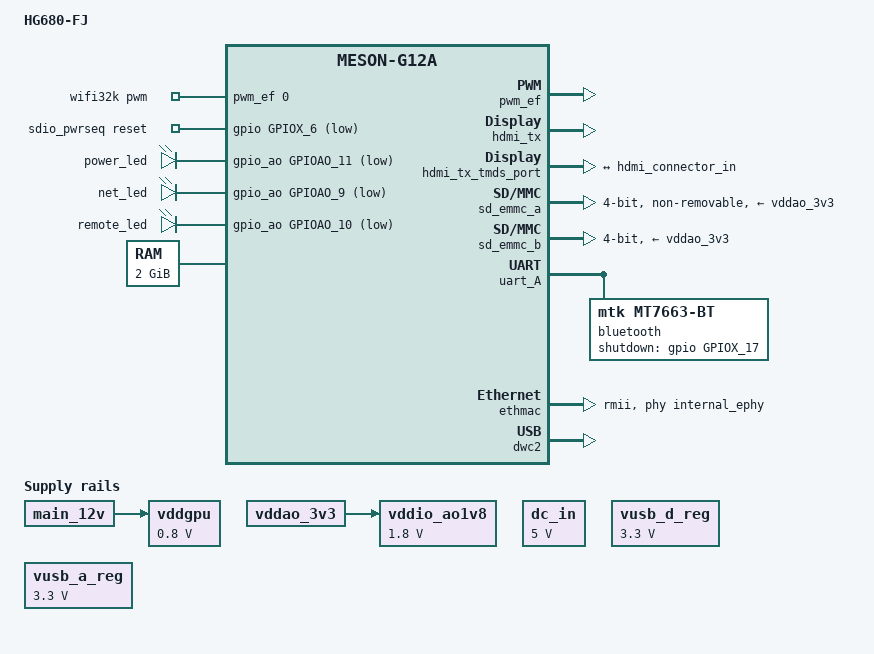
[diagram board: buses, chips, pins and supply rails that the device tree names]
// SPDX-License-Identifier: (GPL-2.0+ OR MIT)
/*
 * Copyright (c) sib0ndt, bluemeda
 */

/dts-v1/;

#include "meson-g12a-u200.dts"

/ {
	compatible = "hg680,fj", "amlogic,g12a";
	model = "HG680-FJ";

	vddgpu: regulator-vddgpu {
		compatible = "regulator-fixed";
		regulator-name = "mali";
		regulator-min-microvolt = <800000>;
		regulator-max-microvolt = <800000>;
		vin-supply = <&main_12v>;
		regulator-boot-on;
		regulator-always-on;
	};

	dc_in: regulator-dc_in {
		compatible = "regulator-fixed";
		regulator-name = "DC_IN";
		regulator-min-microvolt = <5000000>;
		regulator-max-microvolt = <5000000>;
		regulator-always-on;
	};

	vusb_d_reg: regulator-vusb-d {
		compatible = "regulator-fixed";
		regulator-name = "vusb_d";
		regulator-min-microvolt = <3300000>;
		regulator-max-microvolt = <3300000>;
	};

	vusb_a_reg: regulator-vusb-a {
		compatible = "regulator-fixed";
		regulator-name = "vusb_a";
		regulator-min-microvolt = <3300000>;
		regulator-max-microvolt = <3300000>;
	};

	vddio_ao1v8: regulator-vddio_ao1v8 {
		compatible = "regulator-fixed";
		regulator-name = "VDDIO_AO1V8";
		regulator-min-microvolt = <1800000>;
		regulator-max-microvolt = <1800000>;
		vin-supply = <&vddao_3v3>;
		regulator-always-on;
	};

	wifi32k: wifi32k {
		compatible = "pwm-clock";
		#clock-cells = <0>;
		clock-frequency = <32768>;
		pwms = <&pwm_ef 0 30518 0>; /* PWM_E at 32.768KHz */
	};

	sdio_pwrseq: sdio-pwrseq {
		compatible = "mmc-pwrseq-simple";
		reset-gpios = <&gpio GPIOX_6 GPIO_ACTIVE_LOW>;
		clocks = <&wifi32k>;
		clock-names = "ext_clock";
	};

	leds {
		compatible = "gpio-leds";

		power_led {
			led_name = "power_led";
                        gpios = <&gpio_ao GPIOAO_11 GPIO_ACTIVE_LOW>;
			default-state = "on";
		};

		net_led {
			led_name = "net_led";
                        gpios = <&gpio_ao GPIOAO_9 GPIO_ACTIVE_LOW>;
			default-state = "off";
			linux,default-trigger = "0.0:00:link";
		};

		remote_led {
			led_name = "remote_led";
                        gpios = <&gpio_ao GPIOAO_10 GPIO_ACTIVE_LOW>;
			default-state = "off";
			linux,default-trigger = "rc-feedback";
		};

	};

reserved-memory {
    secmon@5000000 {
        reg = <0x0 0x05000000 0x0 0x03000000>;
        no-map;
    };
    linux,cma {
        size = <0x0 0x10000000>;
    };
};

	memory@0 {
		device_type = "memory";
		reg = <0x0 0x0 0x0 0x80000000>;
	};
};

&pwm_ef {
	status = "okay";
	pinctrl-0 = <&pwm_e_pins>;
	pinctrl-names = "default";
	clocks = <&xtal>;
	clock-names = "clkin0";
};

&mali {
	mali-supply=<&vddgpu>;
};

&hdmi_tx {
	status = "okay";
	pinctrl-0 = <&hdmitx_hpd_pins>, <&hdmitx_ddc_pins>;
	pinctrl-names = "default";
};

&hdmi_tx_tmds_port {
	hdmi_tx_tmds_out: endpoint {
		remote-endpoint = <&hdmi_connector_in>;
	};
};

/* SDIO */
&sd_emmc_a {
	status = "okay";
	pinctrl-0 = <&sdio_pins>;
	pinctrl-1 = <&sdio_clk_gate_pins>;
	pinctrl-names = "default", "clk-gate";
	#address-cells = <1>;
	#size-cells = <0>;

	bus-width = <4>;
	cap-sd-highspeed;
	sd-uhs-sdr104;
	max-frequency = <200000000>;

	non-removable;
	disable-wp;

	/* WiFi firmware requires power to be kept while in suspend */
	keep-power-in-suspend;

	mmc-pwrseq = <&sdio_pwrseq>;

	vmmc-supply = <&vddao_3v3>;
	vqmmc-supply = <&vddao_1v8>;
};

/* SD card */
&sd_emmc_b {
	status = "okay";
	bus-width = <4>;
	cap-sd-highspeed;
	max-frequency = <200000000>;
	vmmc-supply = <&vddao_3v3>;
	vqmmc-supply = <&vddao_1v8>;
};

&uart_A {
	status = "okay";
	pinctrl-0 = <&uart_a_pins>, <&uart_a_cts_rts_pins>;
	pinctrl-names = "default";
	uart-has-rtscts;

	bluetooth {
		compatible = "mtk,mt7663-bt";
		shutdown-gpios = <&gpio GPIOX_17 GPIO_ACTIVE_HIGH>;
		max-speed = <2000000>;
		clocks = <&wifi32k>;
		clock-names = "lpo";
	};
};

/* CPU Overclock */
&cpu_opp_table {
	opp-1908000000 {
		opp-hz = /bits/ 64 <1908000000>;
		opp-microvolt = <1001000>;
	};

	opp-2016000000 {
		opp-hz = /bits/ 64 <2016000000>;
		opp-microvolt = <1021000>;
	};
};

&ethmac {
	/delete-property/ resets;
	/delete-property/ reset-names;
	phy-handle = <&internal_ephy>;
	phy-mode = "rmii";
	status = "okay";
};

&dwc2 {
    status = "okay";
    vusb_d-supply = <&vusb_d_reg>;
    vusb_a-supply = <&vusb_a_reg>;
};
